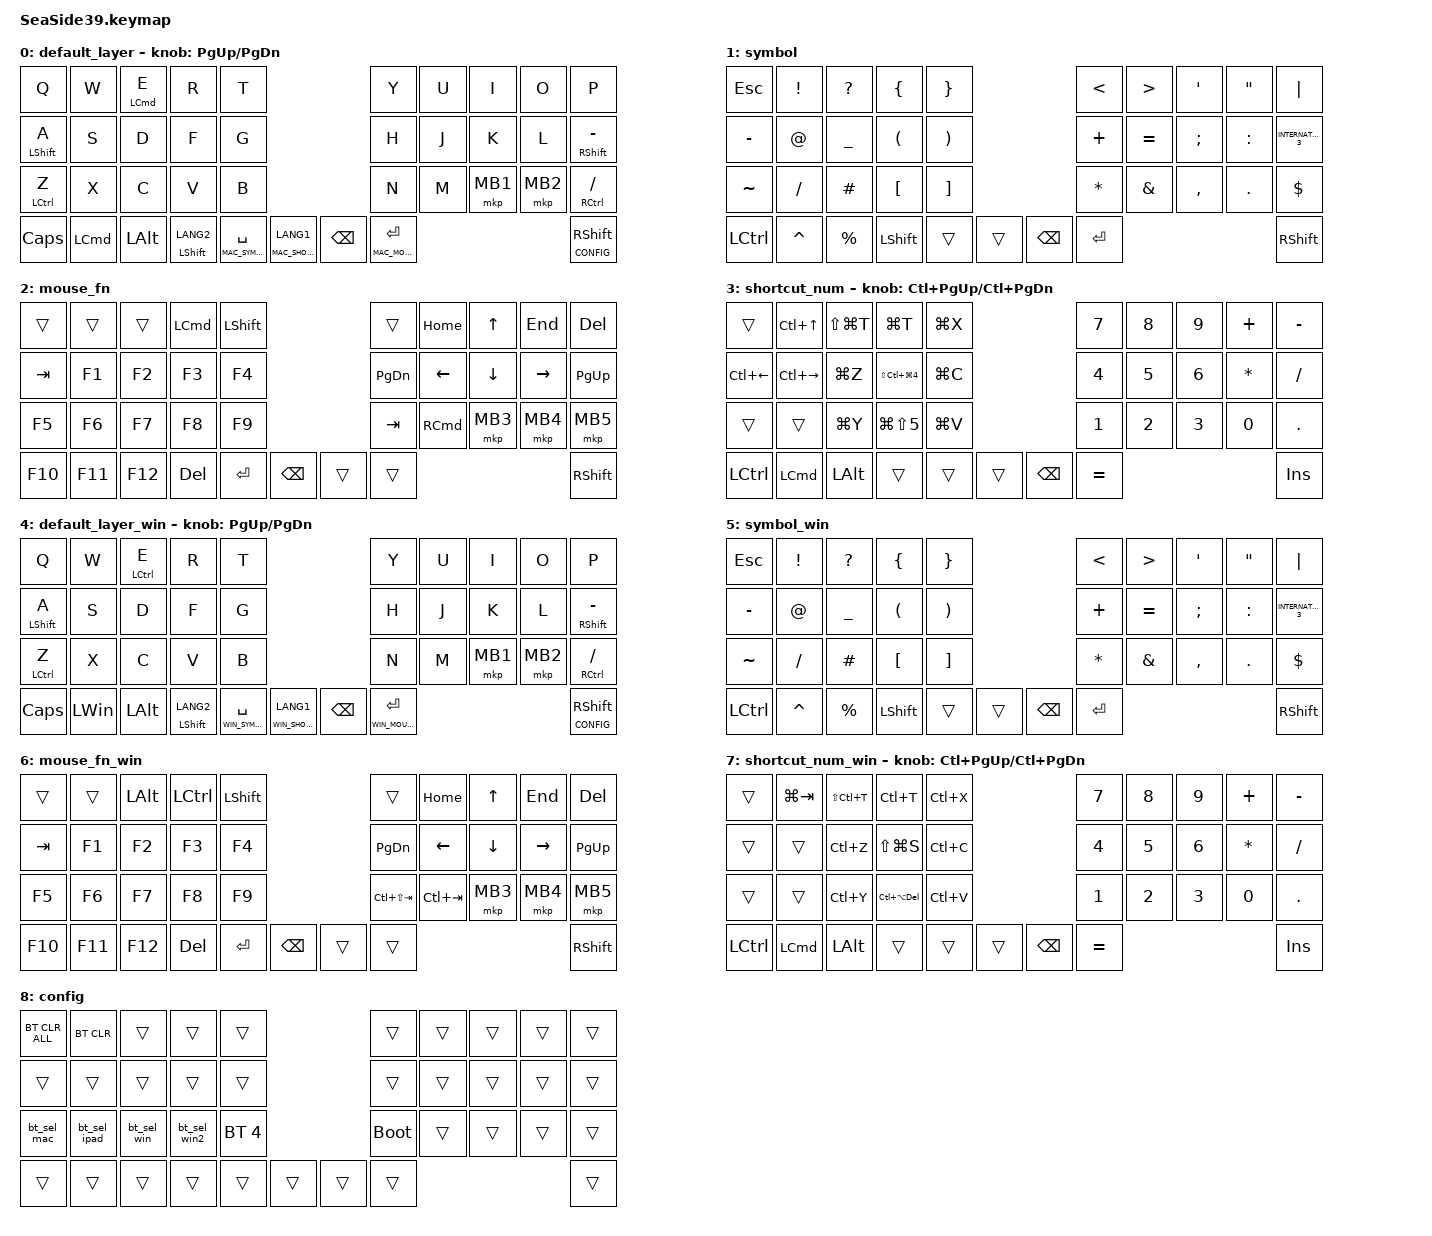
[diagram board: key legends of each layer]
#include <behaviors.dtsi>
#include <dt-bindings/zmk/bt.h>
#include <dt-bindings/zmk/keys.h>
#include <dt-bindings/zmk/pointing.h>

// Mac/iPad用レイヤー (0-3)

#define MAC_DEFAULT 0
#define MAC_SYMBOL 1
#define MAC_MOUSE_FN 2
#define MAC_SHORTCUT_NUM 3

// Windows用レイヤー (4-7)

#define WIN_DEFAULT 4
#define WIN_SYMBOL 5
#define WIN_MOUSE_FN 6
#define WIN_SHORTCUT_NUM 7

// 共通レイヤー

#define CONFIG 8

// 旧定義（互換性のため）

#define MOUSE 4
#define SCROLL 5
#define NUM 6

&mt {
    flavor = "balanced";
    quick-tap-ms = <300>;
};

&lt {
    flavor = "balanced";
    quick-tap-ms = <300>;
};

/ {
    combos { compatible = "zmk,combos"; };

    macros {
        to_layer_0: to_layer_0 {
            compatible = "zmk,behavior-macro-one-param";
            #binding-cells = <1>;
            bindings = <&to 0 &macro_param_1to1 &kp MACRO_PLACEHOLDER>;
            label = "TO_LAYER_0";
        };

        // BT0 (Mac) に切り替え + Mac用レイヤーへ

        bt_sel_mac: bt_sel_mac {
            compatible = "zmk,behavior-macro";
            #binding-cells = <0>;
            bindings = <&bt BT_SEL 0 &to MAC_DEFAULT>;
            label = "BT_SEL_MAC";
        };

        // BT1 (iPad) に切り替え + Mac用レイヤーへ（iPadはMacと同じレイヤー）

        bt_sel_ipad: bt_sel_ipad {
            compatible = "zmk,behavior-macro";
            #binding-cells = <0>;
            bindings = <&bt BT_SEL 1 &to MAC_DEFAULT>;
            label = "BT_SEL_IPAD";
        };

        // BT2 (Windows) に切り替え + Windows用レイヤーへ

        bt_sel_win: bt_sel_win {
            compatible = "zmk,behavior-macro";
            #binding-cells = <0>;
            bindings = <&bt BT_SEL 2 &to WIN_DEFAULT>;
            label = "BT_SEL_WIN";
        };

        bt_sel_win2: bt_sel_win2 {
            compatible = "zmk,behavior-macro";
            #binding-cells = <0>;
            bindings = <&bt BT_SEL 3 &to WIN_DEFAULT>;
            label = "BT_SEL_WIN2";
        };
    };

    behaviors {
        lt_to_layer_0: lt_to_layer_0 {
            compatible = "zmk,behavior-hold-tap";
            label = "LAYER_TAP_TO_0";
            bindings = <&mo &to_layer_0>;
            #binding-cells = <2>;
            tapping-term-ms = <200>;
        };
    };

    keymap {
        compatible = "zmk,keymap";

        default_layer {
            bindings = <
&kp Q               &kp W     &mt LEFT_COMMAND E  &kp R                 &kp T                                                                &kp Y                   &kp U  &kp I     &kp O     &kp P
&mt LEFT_SHIFT A    &kp S     &kp D               &kp F                 &kp G                                                                &kp H                   &kp J  &kp K     &kp L     &mt RIGHT_SHIFT MINUS
&mt LEFT_CONTROL Z  &kp X     &kp C               &kp V                 &kp B                                                                &kp N                   &kp M  &mkp MB1  &mkp MB2  &mt RIGHT_CONTROL SLASH
&kp CAPSLOCK        &kp LCMD  &kp LEFT_ALT        &mt LEFT_SHIFT LANG2  &lt MAC_SYMBOL SPACE  &lt MAC_SHORTCUT_NUM LANG1      &kp BACKSPACE  &lt MAC_MOUSE_FN ENTER                             &lt CONFIG RIGHT_SHIFT
            >;

            sensor-bindings = <&inc_dec_kp PG_UP PAGE_DOWN>;
        };

        symbol {
            bindings = <
&kp ESCAPE        &kp EXCLAMATION  &kp QUESTION    &kp LEFT_BRACE        &kp RIGHT_BRACE                                   &kp LESS_THAN  &kp GREATER_THAN  &kp SINGLE_QUOTE  &kp DOUBLE_QUOTES  &kp PIPE
&kp MINUS         &kp AT_SIGN      &kp UNDERSCORE  &kp LEFT_PARENTHESIS  &kp RIGHT_PARENTHESIS                             &kp PLUS       &kp EQUAL         &kp SEMICOLON     &kp COLON          &kp INTERNATIONAL_3
&kp TILDE         &kp SLASH        &kp HASH        &kp LEFT_BRACKET      &kp RIGHT_BRACKET                                 &kp ASTERISK   &kp AMPERSAND     &kp COMMA         &kp PERIOD         &kp DOLLAR
&kp LEFT_CONTROL  &kp CARET        &kp PERCENT     &kp LEFT_SHIFT        &trans                 &trans      &kp BACKSPACE  &kp ENTER                                                             &kp RIGHT_SHIFT
            >;
        };

        mouse_fn {
            bindings = <
&trans   &trans   &trans   &kp LEFT_COMMAND  &kp LEFT_SHIFT                             &trans         &kp HOME           &kp UP_ARROW    &kp END          &kp DEL
&kp TAB  &kp F1   &kp F2   &kp F3            &kp F4                                     &kp PAGE_DOWN  &kp LEFT_ARROW     &kp DOWN_ARROW  &kp RIGHT_ARROW  &kp PAGE_UP
&kp F5   &kp F6   &kp F7   &kp F8            &kp F9                                     &kp TAB        &kp RIGHT_COMMAND  &mkp MB3        &mkp MB4         &mkp MB5
&kp F10  &kp F11  &kp F12  &kp DEL           &kp ENTER       &kp BACKSPACE      &trans  &trans                                                             &kp RIGHT_SHIFT
            >;
        };

        shortcut_num {
            bindings = <
&trans              &kp LC(UP_ARROW)     &kp LS(LG(T))  &kp LG(T)           &kp LG(X)                             &kp NUMBER_7  &kp NUMBER_8  &kp NUMBER_9  &kp PLUS      &kp MINUS
&kp LC(LEFT_ARROW)  &kp LC(RIGHT_ARROW)  &kp LG(Z)      &kp LS(LC(LG(N4)))  &kp LG(C)                             &kp NUMBER_4  &kp NUMBER_5  &kp NUMBER_6  &kp ASTERISK  &kp SLASH
&trans              &trans               &kp LG(Y)      &kp LG(LS(N5))      &kp LG(V)                             &kp NUMBER_1  &kp NUMBER_2  &kp NUMBER_3  &kp NUMBER_0  &kp PERIOD
&kp LEFT_CONTROL    &kp LEFT_COMMAND     &kp LEFT_ALT   &trans              &trans     &trans      &kp BACKSPACE  &kp EQUAL                                               &kp INS
            >;

            sensor-bindings = <&inc_dec_kp LC(PAGE_UP) LC(PAGE_DOWN)>;
        };

        // ============================================
        // Windows用レイヤー (4-7)
        // ============================================

        default_layer_win {
            bindings = <
&kp Q               &kp W         &mt LEFT_CONTROL E  &kp R                 &kp T                                                                &kp Y                   &kp U  &kp I     &kp O     &kp P
&mt LEFT_SHIFT A    &kp S         &kp D               &kp F                 &kp G                                                                &kp H                   &kp J  &kp K     &kp L     &mt RIGHT_SHIFT MINUS
&mt LEFT_CONTROL Z  &kp X         &kp C               &kp V                 &kp B                                                                &kp N                   &kp M  &mkp MB1  &mkp MB2  &mt RIGHT_CONTROL SLASH
&kp CAPSLOCK        &kp LEFT_WIN  &kp LEFT_ALT        &mt LEFT_SHIFT LANG2  &lt WIN_SYMBOL SPACE  &lt WIN_SHORTCUT_NUM LANG1      &kp BACKSPACE  &lt WIN_MOUSE_FN ENTER                             &lt CONFIG RIGHT_SHIFT
            >;

            sensor-bindings = <&inc_dec_kp PG_UP PAGE_DOWN>;
        };

        symbol_win {
            bindings = <
&kp ESCAPE        &kp EXCLAMATION  &kp QUESTION    &kp LEFT_BRACE        &kp RIGHT_BRACE                                   &kp LESS_THAN  &kp GREATER_THAN  &kp SINGLE_QUOTE  &kp DOUBLE_QUOTES  &kp PIPE
&kp MINUS         &kp AT_SIGN      &kp UNDERSCORE  &kp LEFT_PARENTHESIS  &kp RIGHT_PARENTHESIS                             &kp PLUS       &kp EQUAL         &kp SEMICOLON     &kp COLON          &kp INTERNATIONAL_3
&kp TILDE         &kp SLASH        &kp HASH        &kp LEFT_BRACKET      &kp RIGHT_BRACKET                                 &kp ASTERISK   &kp AMPERSAND     &kp COMMA         &kp PERIOD         &kp DOLLAR
&kp LEFT_CONTROL  &kp CARET        &kp PERCENT     &kp LEFT_SHIFT        &trans                 &trans      &kp BACKSPACE  &kp ENTER                                                             &kp RIGHT_SHIFT
            >;
        };

        mouse_fn_win {
            bindings = <
&trans   &trans   &kp LEFT_ALT  &kp LEFT_CONTROL  &kp LEFT_SHIFT                             &trans           &kp HOME        &kp UP_ARROW    &kp END          &kp DEL
&kp TAB  &kp F1   &kp F2        &kp F3            &kp F4                                     &kp PAGE_DOWN    &kp LEFT_ARROW  &kp DOWN_ARROW  &kp RIGHT_ARROW  &kp PAGE_UP
&kp F5   &kp F6   &kp F7        &kp F8            &kp F9                                     &kp LC(LS(TAB))  &kp LC(TAB)     &mkp MB3        &mkp MB4         &mkp MB5
&kp F10  &kp F11  &kp F12       &kp DEL           &kp ENTER       &kp BACKSPACE      &trans  &trans                                                            &kp RIGHT_SHIFT
            >;
        };

        shortcut_num_win {
            bindings = <
&trans            &kp LG(TAB)       &kp LS(LC(T))  &kp LC(T)           &kp LC(X)                             &kp NUMBER_7  &kp NUMBER_8  &kp NUMBER_9  &kp PLUS      &kp MINUS
&trans            &trans            &kp LC(Z)      &kp LS(LG(S))       &kp LC(C)                             &kp NUMBER_4  &kp NUMBER_5  &kp NUMBER_6  &kp ASTERISK  &kp SLASH
&trans            &trans            &kp LC(Y)      &kp LC(LA(DELETE))  &kp LC(V)                             &kp NUMBER_1  &kp NUMBER_2  &kp NUMBER_3  &kp NUMBER_0  &kp PERIOD
&kp LEFT_CONTROL  &kp LEFT_COMMAND  &kp LEFT_ALT   &trans              &trans     &trans      &kp BACKSPACE  &kp EQUAL                                               &kp INS
            >;

            sensor-bindings = <&inc_dec_kp LC(PAGE_UP) LC(PAGE_DOWN)>;
        };

        // ============================================
        // 共通レイヤー
        // ============================================

        config {
            bindings = <
&bt BT_CLR_ALL  &bt BT_CLR    &trans       &trans        &trans                            &trans       &trans  &trans  &trans  &trans
&trans          &trans        &trans       &trans        &trans                            &trans       &trans  &trans  &trans  &trans
&bt_sel_mac     &bt_sel_ipad  &bt_sel_win  &bt_sel_win2  &bt BT_SEL 4                      &bootloader  &trans  &trans  &trans  &trans
&trans          &trans        &trans       &trans        &trans        &trans      &trans  &trans                               &trans
            >;
        };
    };
};
